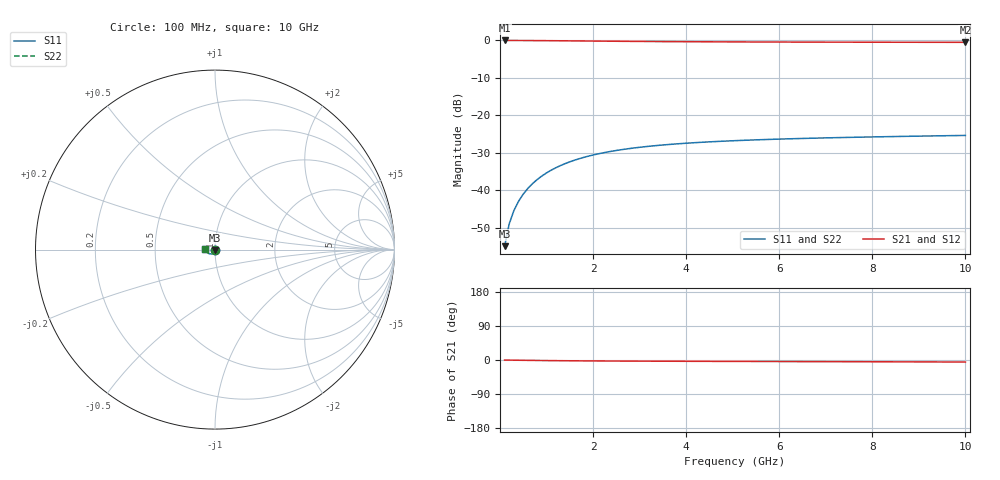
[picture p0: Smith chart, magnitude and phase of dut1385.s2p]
! Touchstone file exported from HFSS 2024.1.0
!  File:  C:/UserFiles/LocalFiles/RDL_TSV_Batchsim/temp_TSV1_1385_1780380596.aedt
!  Generated:  02:16:20 PM Jun  2, 2026
!  Design:  TSV1
!  Project:  temp_TSV1_1385_1780380596
!  Setup:  Setup1
!  Solution:  Sweep
! Variables:
!  dtsv = 12.61um
!  hbump = 3um
!  htsv = 82.15um
!  lrdl = 252.1521522um
!  p = 40
!  p1 = 59.48um
!  t = 500um
!  trdl = 3um
!  wrdl = 24.89489489um
# GHz S MA R 50.000000
! Terminal data exported
! Port[1] = TSV22_T1
! Port[2] = TSV22_T2
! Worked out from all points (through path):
!   100 points, 100 MHz to 10 GHz, reference 50 ohm
!   highest |S21| = 0.00 dB at 100 MHz (marker M1); lowest = -0.5 dB at 10 GHz (marker M2)
!   lowest |S11| = -54.9 dB at 100 MHz (marker M3), VSWR 1.00, Z = 50 - j0.181 ohm
!   |S11| at or under -10 dB: start of sweep to end of sweep
!   |S22| runs from -54.9 to -25.3 dB; largest |S21 - S12| = 2.8e-15
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0.1  0.001809 -89.3  0.9998 -0.2  0.9998 -0.2  0.001809 -89.3
! Gamma 0 0 0 0
! Port Impedance 50 0 50 0
0.2  0.003611 -92.9  0.9996 -0.3  0.9996 -0.3  0.003611 -92.9
0.3  0.005406 -95.5  0.9992 -0.5  0.9992 -0.5  0.005406 -95.5
0.4  0.007184 -98.0  0.9988 -0.6  0.9988 -0.6  0.007184 -98.0
0.5  0.008937 -100.3  0.9981 -0.8  0.9981 -0.8  0.008937 -100.3
0.6  0.01066 -102.6  0.9974 -0.9  0.9974 -0.9  0.01066 -102.6
0.7  0.01234 -104.8  0.9966 -1.1  0.9966 -1.1  0.01234 -104.8
0.8  0.01399 -106.9  0.9957 -1.2  0.9957 -1.2  0.01399 -106.9
0.9  0.01558 -109.0  0.9947 -1.3  0.9947 -1.3  0.01558 -109.0
1.1  0.01863 -113.1  0.9925 -1.6  0.9925 -1.6  0.01863 -113.1
1.4  0.0228 -118.8  0.9889 -1.9  0.9889 -1.9  0.0228 -118.8
1.6  0.02531 -122.4  0.9864 -2.1  0.9864 -2.1  0.02531 -122.4
1.8  0.0276 -125.8  0.9838 -2.3  0.9838 -2.3  0.0276 -125.8
2.1  0.03067 -130.4  0.9801 -2.5  0.9801 -2.5  0.03067 -130.4
2.5  0.03413 -136.0  0.9755 -2.8  0.9755 -2.8  0.03413 -136.0
2.9  0.03699 -141.0  0.9713 -3.0  0.9713 -3.0  0.03699 -141.0
3.4  0.03989 -146.4  0.9668 -3.2  0.9668 -3.2  0.03989 -146.4
4.2  0.0434 -153.8  0.961 -3.5  0.961 -3.5  0.0434 -153.8
5.1  0.04626 -160.5  0.9562 -3.8  0.9562 -3.8  0.04626 -160.5
6.7  0.04972 -170.1  0.9504 -4.3  0.9504 -4.3  0.04972 -170.1
8.4  0.05227 -178.1  0.9466 -4.8  0.9466 -4.8  0.05226 -178.1
10  0.05416 175.6  0.9442 -5.3  0.9442 -5.3  0.05416 175.6
